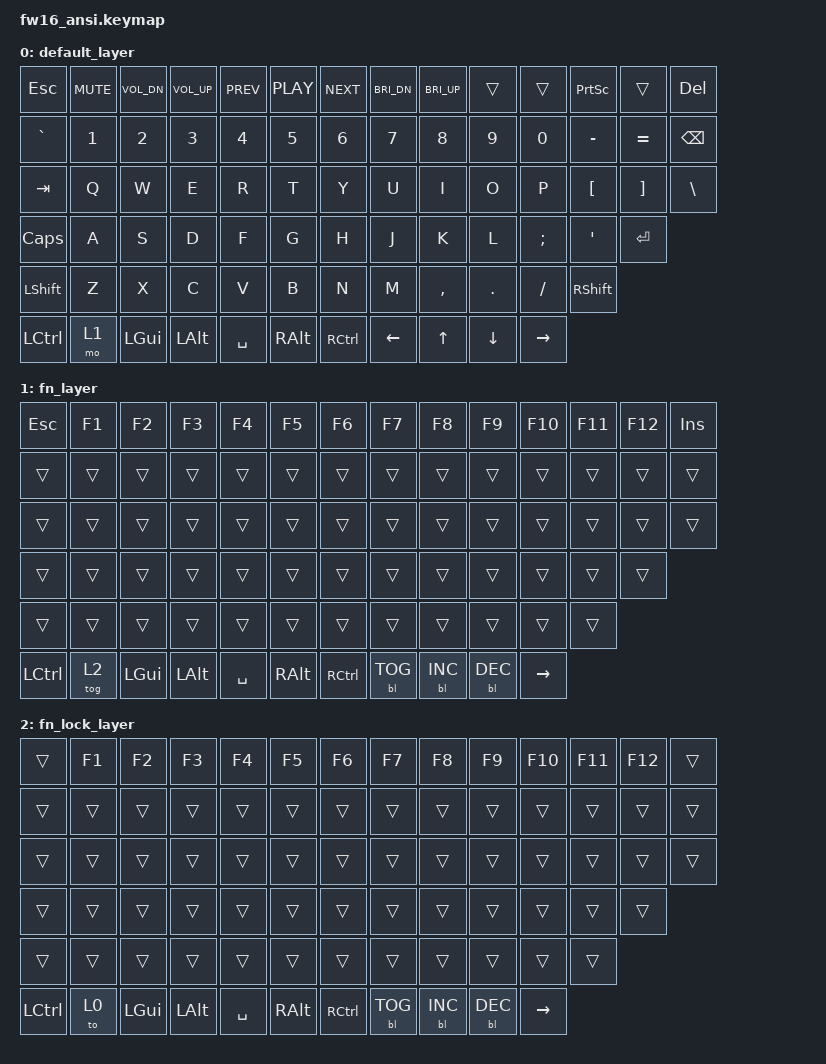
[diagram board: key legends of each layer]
#include <behaviors.dtsi>
#include <dt-bindings/zmk/keys.h>
#include <dt-bindings/zmk/backlight.h>

/ {
    keymap {
        compatible = "zmk,keymap";

        /* Base layer (0) */
        default_layer {
            bindings = <
                /* Row 1: ESC, media + brightness controls, screen config, airplane, print screen, media select, DEL */
                &kp ESC   &kp C_MUTE &kp C_VOL_DN &kp C_VOL_UP &kp C_PREV &kp C_PLAY &kp C_NEXT &kp C_BRI_DN &kp C_BRI_UP &trans &trans &kp PSCRN &trans &kp DEL

                /* Row 2: ` 1 2 3 4 5 6 7 8 9 0 - = BSPC */
                &kp GRAVE &kp N1    &kp N2    &kp N3    &kp N4    &kp N5    &kp N6    &kp N7    &kp N8    &kp N9    &kp N0    &kp MINUS &kp EQUAL &kp BSPC

                /* Row 3: TAB Q W E R T Y U I O P [ ] \ */
                &kp TAB   &kp Q     &kp W     &kp E     &kp R     &kp T     &kp Y     &kp U     &kp I     &kp O     &kp P     &kp LBKT  &kp RBKT  &kp BSLH

                /* Row 4: CAPS A S D F G H J K L ; ' ENTER */
                &kp CAPSLOCK  &kp A     &kp S     &kp D     &kp F     &kp G     &kp H     &kp J     &kp K     &kp L     &kp SEMI  &kp SQT   &kp ENTER

                /* Row 5: LSHIFT Z X C V B N M , . / RSHIFT */
                &kp LSHFT &kp Z     &kp X     &kp C     &kp V     &kp B     &kp N     &kp M     &kp COMMA &kp DOT   &kp SLASH &kp RSHFT

                /* Row 6: LCTRL FN(L1) LGUI LALT SPACE RALT RCTRL LEFT UP DOWN RIGHT */
                &kp LCTRL &mo 1     &kp LGUI  &kp LALT  &kp SPACE &kp RALT  &kp RCTRL &kp LEFT  &kp UP    &kp DOWN  &kp RIGHT
            >;
        };

        /* FN layer (1): media + backlight controls, FN-LOCK toggle on FN key position */
        fn_layer {
            bindings = <
                /* Row 1: media keys (example mapping) */
                &kp ESC   &kp F1    &kp F2    &kp F3    &kp F4    &kp F5    &kp F6    &kp F7    &kp F8    &kp F9    &kp F10   &kp F11   &kp F12   &kp INS

                /* Row 2 */
                &trans    &trans    &trans    &trans    &trans    &trans    &trans    &trans    &trans    &trans    &trans    &trans    &trans    &trans

                /* Row 3 */
                &trans    &trans    &trans    &trans    &trans    &trans    &trans    &trans    &trans    &trans    &trans    &trans    &trans    &trans

                /* Row 4 */
                &trans    &trans    &trans    &trans    &trans    &trans    &trans    &trans    &trans    &trans    &trans    &trans    &trans

                /* Row 5 */
                &trans    &trans    &trans    &trans    &trans    &trans    &trans    &trans    &trans    &trans    &trans    &trans

                /* Row 6: LCTRL FN-LOCK LGUI LALT SPACE RALT RCTRL BL-TOG BL-BRI+ BL-BRI- (RIGHT unchanged) */
                &kp LCTRL &tog 2    &kp LGUI  &kp LALT  &kp SPACE &kp RALT  &kp RCTRL &bl BL_TOG &bl BL_INC &bl BL_DEC &kp RIGHT
            >;
        };

        /* FN-LOCK layer (2): same as FN but FN key position goes back to base */
        fn_lock_layer {
            bindings = <
                /* Row 1 */
                &trans    &kp F1    &kp F2    &kp F3    &kp F4    &kp F5    &kp F6    &kp F7    &kp F8    &kp F9    &kp F10   &kp F11   &kp F12   &trans

                /* Row 2 */
                &trans    &trans    &trans    &trans    &trans    &trans    &trans    &trans    &trans    &trans    &trans    &trans    &trans    &trans

                /* Row 3 */
                &trans    &trans    &trans    &trans    &trans    &trans    &trans    &trans    &trans    &trans    &trans    &trans    &trans    &trans

                /* Row 4 */
                &trans    &trans    &trans    &trans    &trans    &trans    &trans    &trans    &trans    &trans    &trans    &trans    &trans

                /* Row 5 */
                &trans    &trans    &trans    &trans    &trans    &trans    &trans    &trans    &trans    &trans    &trans    &trans

                /* Row 6: LCTRL GO-BACK LGUI LALT SPACE RALT RCTRL BL-TOG BL-BRI+ BL-BRI- (RIGHT unchanged) */
                &kp LCTRL &to 0     &kp LGUI  &kp LALT  &kp SPACE &kp RALT  &kp RCTRL &bl BL_TOG &bl BL_INC &bl BL_DEC &kp RIGHT
            >;
        };
    };
};
